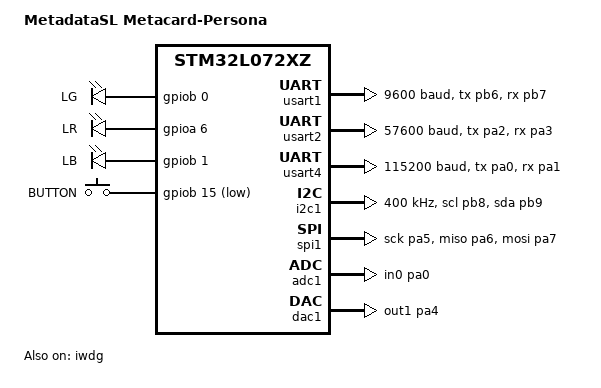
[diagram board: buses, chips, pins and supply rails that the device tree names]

/*
 * Copyright (c) 2021 Carlos Rodriguez Peralta <carlos.rodriguez@metadata.es>
 *
 * SPDX-License-Identifier: Apache-2.0
 */

/dts-v1/;
#include <st/l0/stm32l072Xz.dtsi>
#include <st/l0/stm32l072c(b-z)tx-pinctrl.dtsi>
#include "arduino_r3_connector.dtsi"

/ {
	model = "MetadataSL Metacard-Persona";
	compatible = "METADATASL, metacard";

	chosen {
		zephyr,console = &usart2;
		zephyr,shell-uart = &usart2;
		zephyr,sram = &sram0;
		zephyr,flash = &flash0;
	};

	leds {
		compatible = "gpio-leds";
		green_led_2: led_2 {
			gpios = <&gpiob 0 GPIO_ACTIVE_HIGH>;
			label = "LG";
		};
		red_led_1: led_1{
			gpios = <&gpioa 6 GPIO_ACTIVE_HIGH>;
			label = "LR";
		};
		blue_led_3: led_3{
			gpios = <&gpiob 1 GPIO_ACTIVE_HIGH>;
			label = "LB";
		};
	};

	gpio_keys {
		compatible = "gpio-keys";
		user_button: button {
			label = "BUTTON";
			gpios = <&gpiob 15 GPIO_ACTIVE_LOW>;
		};
	};

	aliases {
		led0 = &green_led_2;
		led1 = &red_led_1;
		led3 = &blue_led_3;
		sw0 = &user_button;
	};
};


&usart1 {  /* GPS */
	pinctrl-0 = <&usart1_tx_pb6 &usart1_rx_pb7>;
	current-speed = <9600>;
	status = "okay";
};

&usart2 { /* FPS  */
	pinctrl-0 = <&usart2_tx_pa2 &usart2_rx_pa3>;
	current-speed = <57600>;
	status = "okay";
};
&usart4 { //WiFi  
	pinctrl-0 = <&usart4_tx_pa0 &usart4_rx_pa1>;
	current-speed = <115200>;
	status = "okay";
};
/*&usart5 { // NBIOT  
	pinctrl-0 = <&usart5_tx_pb3 &usart5_rx_pb4>;
	current-speed = <9600>;
	status = "okay";
};*/

&i2c1 {
	pinctrl-0 = <&i2c1_scl_pb8 &i2c1_sda_pb9>;
	status = "okay";
	clock-frequency = <I2C_BITRATE_FAST>;
};

&spi1 {
	pinctrl-0 = <&spi1_sck_pa5 &spi1_miso_pa6 &spi1_mosi_pa7>;
	status = "okay";
};

&iwdg {
	status = "okay";
};

&adc1 {
	pinctrl-0 = <&adc_in0_pa0>;
	status = "okay";
};

&dac1 {
	status = "okay";
	pinctrl-0 = <&dac_out1_pa4>;
};
